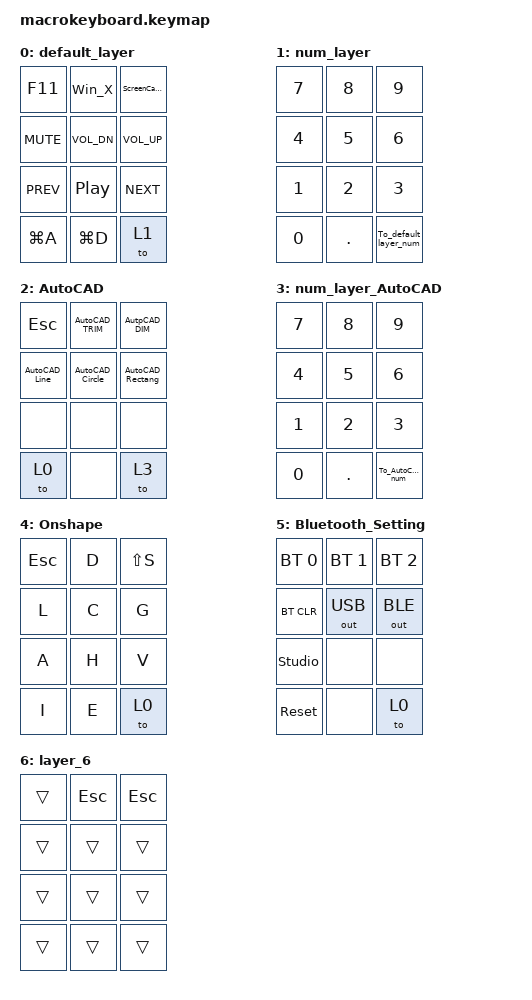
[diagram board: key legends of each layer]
/*
 * Copyright (c) 2020 The ZMK Contributors
 *
 * SPDX-License-Identifier: MIT
 */

#include <behaviors.dtsi>
#include <dt-bindings/zmk/bt.h>
#include <dt-bindings/zmk/keys.h>
#include <dt-bindings/zmk/outputs.h>

/ {
    macros {
        AutoCAD_Line: AutoCAD {
            compatible = "zmk,behavior-macro";
            #binding-cells = <0>;
            bindings = <&macro_tap>, <&kp ESC &kp L &kp RET>;

            label = "AUTOCAD";
        };

        AutoCAD_Circle: AutoCAD_Circle {
            compatible = "zmk,behavior-macro";
            #binding-cells = <0>;
            bindings = <&kp ESC &kp C &kp RET>, <&macro_tap>;

            label = "AUTOCAD_CIRCLE";
        };

        ScreenCapture: ScreenCapture {
            compatible = "zmk,behavior-macro";
            #binding-cells = <0>;
            bindings = <&kp LS(LG(S)) &sl 6>;
            label = "SCREENCAPTURE";
        };

        AutoCAD_Rectang: AutoCAD_Rectang {
            compatible = "zmk,behavior-macro";
            #binding-cells = <0>;
            bindings = <&kp ESC &kp R &kp E &kp C &kp RET>, <&macro_tap>;

            label = "AUTOCAD_RECTANG";
        };

        AutpCAD_DIM: AutpCAD_DIM {
            compatible = "zmk,behavior-macro";
            #binding-cells = <0>;
            bindings = <&kp ESC &kp D &kp I &kp M &kp RET>, <&macro_tap>;

            label = "AUTPCAD_DIM";
        };

        AutoCAD_TRIM: AutoCAD_TRIM {
            compatible = "zmk,behavior-macro";
            #binding-cells = <0>;
            bindings = <&kp ESC &kp T &kp R &kp RET>, <&macro_tap>;

            label = "AUTOCAD_TRIM";
        };

        To_AutoCAD_num: To_AutoCAD_num {
            compatible = "zmk,behavior-macro";
            #binding-cells = <0>;
            bindings = <&kp RET &to 2>;
            label = "TO_AUTOCAD_NUM";
        };

        To_default_layer_num: To_default_layer_num {
            compatible = "zmk,behavior-macro";
            #binding-cells = <0>;
            bindings = <&kp ENTER &to 0>;
            label = "TO_DEFAULT_LAYER_NUM";
        };

        Win_X: Win_X {
            compatible = "zmk,behavior-macro";
            #binding-cells = <0>;
            bindings = <&kp LG(X) &sl 6>;
            label = "WIN_X";
        };
    };

    combos {
        compatible = "zmk,combos";

        AutoCAD {
            bindings = <&to 2>;
            key-positions = <11 1>;
            layers = <0>;
        };

        Onshape {
            bindings = <&to 4>;
            key-positions = <0 11>;
            layers = <0>;
        };

        Backspace {
            bindings = <&kp BACKSPACE>;
            key-positions = <10 9>;
            layers = <3 1>;
        };

        Bluetooth_Setting {
            bindings = <&to 5>;
            key-positions = <3 11>;
            layers = <0>;
        };

        Keyboard_Reset_Behavior {
            bindings = <&bootloader>;
            key-positions = <11 0>;
            layers = <5>;
        };
    };

    behaviors {
        new_behavior: new_behavior {
            compatible = "zmk,behavior-key-toggle";
            label = "NEW_BEHAVIOR";
            #binding-cells = <1>;
        };
    };

    keymap {
        compatible = "zmk,keymap";

        default_layer {
            bindings = <
&kp F11     &Win_X        &ScreenCapture
&kp C_MUTE  &kp C_VOL_DN  &kp C_VOL_UP
&kp C_PREV  &kp C_PP      &kp C_NEXT
&kp LG(A)   &kp LG(D)     &to 1
            >;
        };

        num_layer {
            bindings = <
&kp N7  &kp N8   &kp N9
&kp N4  &kp N5   &kp N6
&kp N1  &kp N2   &kp N3
&kp N0  &kp DOT  &To_default_layer_num
            >;
        };

        AutoCAD {
            bindings = <
&kp ESC        &AutoCAD_TRIM    &AutpCAD_DIM
&AutoCAD_Line  &AutoCAD_Circle  &AutoCAD_Rectang
&none          &none            &none
&to 0          &none            &to 3
            >;
        };

        num_layer_AutoCAD {
            bindings = <
&kp N7  &kp N8   &kp N9
&kp N4  &kp N5   &kp N6
&kp N1  &kp N2   &kp N3
&kp N0  &kp DOT  &To_AutoCAD_num
            >;
        };

        Onshape {
            bindings = <
&kp ESC  &kp D  &kp LS(S)
&kp L    &kp C  &kp G
&kp A    &kp H  &kp V
&kp I    &kp E  &to 0
            >;
        };

        Bluetooth_Setting {
            bindings = <
&bt BT_SEL 0    &bt BT_SEL 1  &bt BT_SEL 2
&bt BT_CLR      &out OUT_USB  &out OUT_BLE
&studio_unlock  &none         &none
&sys_reset      &none         &to 0
            >;
        };

        layer_6 {
            bindings = <
&trans  &kp ESC  &kp ESC
&trans  &trans   &trans
&trans  &trans   &trans
&trans  &trans   &trans
            >;
        };
    };
};
